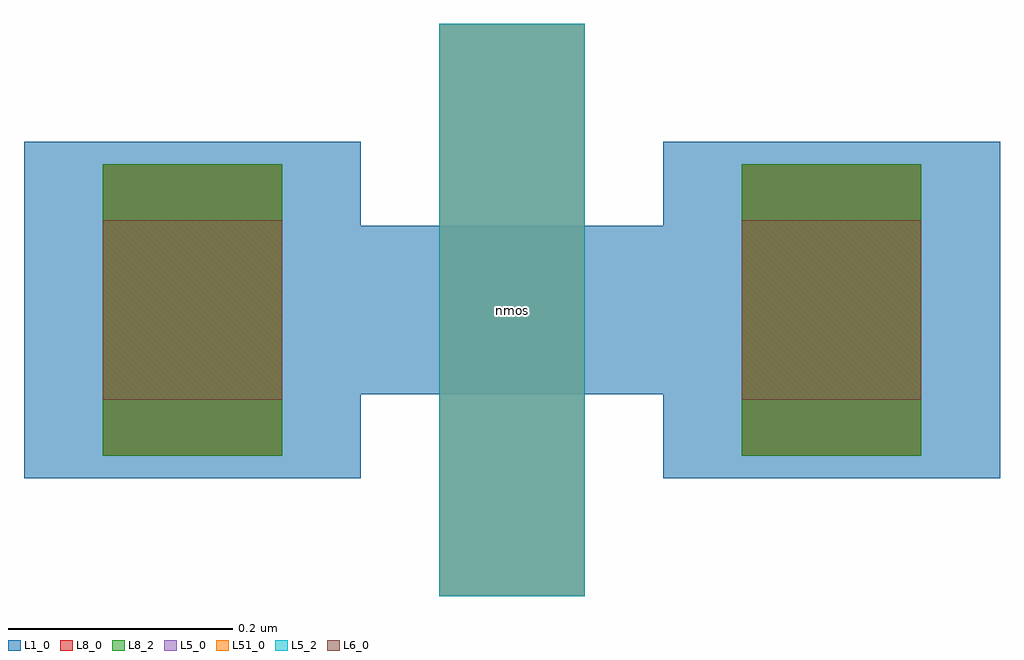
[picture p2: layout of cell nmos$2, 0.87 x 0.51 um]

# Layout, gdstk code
import gdstk
lib = gdstk.Library(unit=1e-6, precision=5e-09)
def R(c, l, rs):  # rectangles x0, y0, x1, y1
    for r in rs: c.add(gdstk.rectangle(r[:2], r[2:], *l))
L1_0 = (1, 0)
L5_0 = (5, 0)
L5_2 = (5, 2)
L6_0 = (6, 0)
L8_0 = (8, 0)
L8_2 = (8, 2)
L51_0 = (51, 0)

nmos_2 = lib.new_cell('nmos$2')
R(nmos_2, L1_0, [(0,0.01,0.3,0.31), (0.57,0.01,0.87,0.31), (0,0.085,0.87,0.235)])
R(nmos_2, L5_0, [(0.37,-0.095,0.5,0.415)])
R(nmos_2, L5_2, [(0.37,-0.095,0.5,0.415)])
R(nmos_2, L6_0, [(0.07,0.08,0.23,0.24), (0.64,0.08,0.8,0.24)])
R(nmos_2, L8_0, [(0.07,0.03,0.23,0.29), (0.64,0.03,0.8,0.29)])
R(nmos_2, L8_2, [(0.07,0.03,0.23,0.29), (0.64,0.03,0.8,0.29)])
R(nmos_2, L51_0, [(0.37,-0.095,0.5,0.415)])
nmos_2.add(gdstk.Label('nmos', (0.435,0.16), layer=63, texttype=0))
nmos_2.add(gdstk.Label('nmos', (0.435,0.16), layer=51, texttype=0))

lib.write_gds('nmos_2.gds')
